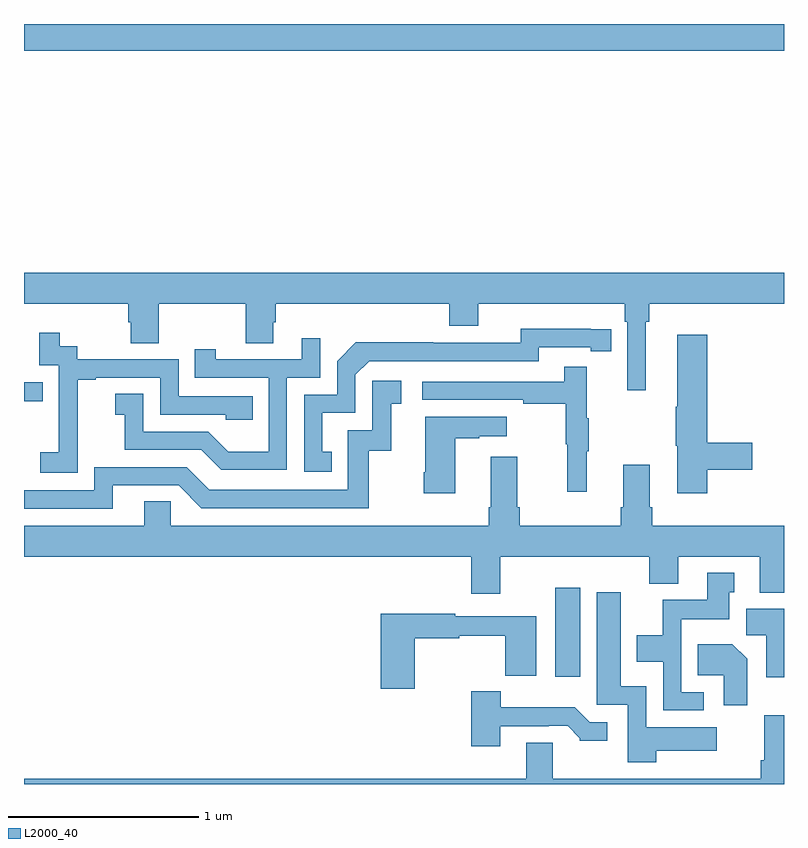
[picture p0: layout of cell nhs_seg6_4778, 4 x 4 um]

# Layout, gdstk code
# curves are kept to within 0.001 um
import gdstk
lib = gdstk.Library(unit=1e-6, precision=1e-09)
def R(c, l, rs):  # rectangles x0, y0, x1, y1
    for r in rs: c.add(gdstk.rectangle(r[:2], r[2:], *l))
def P(c, l, *ps):  # polygons
    for p in ps: c.add(gdstk.Polygon(p, *l))
L2000_40 = (2000, 40)

nhs_seg6_4778 = lib.new_cell('nhs_seg6_4778')
R(nhs_seg6_4778, L2000_40, [(397.796,920.064,397.927,920.533), (395,921.514,395.099,921.615), (395,923.36,399,923.5)])
P(nhs_seg6_4778, L2000_40, [(398.272,921.932),(398.291,921.932),(398.291,922.028),(399,922.028),(399,922.192),(395,922.192),(395,922.028),(395.549,922.028),(395.549,921.93),(395.561,921.93),(395.561,921.82),(395.709,921.82),(395.709,922.028),(396.166,922.028),(396.166,921.82),(396.313,921.82),(396.313,921.93),(396.326,921.93),(396.326,922.028),(397.238,922.028),(397.238,921.911),(397.39,921.911),(397.39,922.028),(398.162,922.028),(398.162,921.932),(398.175,921.932),(398.175,921.573),(398.272,921.573)],
  [(396.62,921.249),(396.571,921.249),(396.571,921.453),(396.744,921.453),(396.744,921.654),(396.816,921.726),(397.71,921.726),(397.71,921.798),(397.982,921.798),(397.982,921.778),(398.09,921.778),(398.09,921.894),(397.614,921.895),(397.614,921.822),(397.154,921.822),(397.154,921.824),(396.746,921.824),(396.648,921.726),(396.648,921.549),(396.474,921.549),(396.474,921.144),(396.62,921.144)],
  [(395.283,921.343),(395.282,921.343),(395.282,921.627),(395.377,921.627),(395.377,921.639),(395.718,921.639),(395.718,921.444),(396.063,921.444),(396.063,921.417),(396.203,921.417),(396.203,921.54),(395.814,921.54),(395.814,921.735),(395.28,921.735),(395.28,921.804),(395.188,921.804),(395.188,921.874),(395.079,921.874),(395.079,921.705),(395.184,921.705),(395.184,921.476),(395.183,921.476),(395.183,921.247),(395.085,921.247),(395.085,921.137),(395.283,921.137)],
  [(398.597,921.154),(398.833,921.154),(398.833,921.296),(398.597,921.296),(398.597,921.865),(398.438,921.865),(398.438,921.485),(398.431,921.485),(398.431,921.279),(398.438,921.279),(398.438,921.03),(398.597,921.03)],
  [(396.384,921.639),(396.558,921.639),(396.558,921.847),(396.461,921.847),(396.461,921.735),(396.01,921.735),(396.01,921.787),(395.899,921.787),(395.899,921.639),(396.288,921.639),(396.288,921.25),(396.074,921.25),(395.97,921.354),(395.628,921.354),(395.628,921.553),(395.481,921.553),(395.481,921.443),(395.53,921.443),(395.53,921.258),(395.933,921.258),(396.038,921.153),(396.384,921.153)],
  [(397.961,921.251),(397.972,921.251),(397.972,921.425),(397.961,921.425),(397.961,921.697),(397.843,921.697),(397.843,921.618),(397.095,921.618),(397.095,921.522),(397.627,921.522),(397.627,921.502),(397.851,921.502),(397.851,921.288),(397.858,921.288),(397.858,921.039),(397.961,921.039)],
  [(395.467,921.072),(395.814,921.072),(395.934,920.952),(396.814,920.952),(396.814,921.255),(396.932,921.255),(396.932,921.501),(396.985,921.501),(396.985,921.622),(396.834,921.622),(396.834,921.363),(396.705,921.363),(396.705,921.048),(395.976,921.048),(395.856,921.168),(395.37,921.168),(395.37,921.045),(395,921.045),(395,920.949),(395.467,920.949)],
  [(397.27,921.319),(397.397,921.319),(397.397,921.329),(397.54,921.329),(397.54,921.433),(397.112,921.433),(397.112,921.142),(397.105,921.142),(397.105,921.03),(397.27,921.03)],
  [(397.507,920.696),(398.291,920.696),(398.291,920.555),(398.443,920.555),(398.443,920.696),(398.873,920.696),(398.873,920.507),(399,920.507),(399,920.86),(398.306,920.86),(398.306,920.956),(398.293,920.956),(398.293,921.181),(398.153,921.181),(398.153,920.956),(398.141,920.956),(398.141,920.86),(397.61,920.86),(397.61,920.956),(397.597,920.956),(397.597,921.223),(397.457,921.223),(397.457,920.956),(397.445,920.956),(397.445,920.86),(395.772,920.86),(395.772,920.987),(395.633,920.987),(395.633,920.86),(395,920.86),(395,920.696),(397.355,920.696),(397.355,920.502),(397.507,920.502)],
  [(398.578,919.983),(398.46,919.983),(398.46,920.366),(398.713,920.366),(398.713,920.508),(398.737,920.508),(398.737,920.611),(398.597,920.611),(398.597,920.47),(398.362,920.47),(398.362,920.284),(398.225,920.284),(398.225,920.144),(398.364,920.144),(398.364,919.887),(398.578,919.887)],
  [(398.327,919.676),(398.647,919.676),(398.647,919.798),(398.274,919.798),(398.274,920.014),(398.14,920.014),(398.14,920.509),(398.015,920.509),(398.015,919.917),(398.178,919.917),(398.178,919.614),(398.327,919.614)],
  [(399,920.422),(398.801,920.422),(398.801,920.284),(398.906,920.284),(398.906,920.063),(399,920.063)],
  [(397.056,920.266),(397.29,920.266),(397.29,920.281),(397.534,920.281),(397.534,920.069),(397.696,920.069),(397.696,920.382),(397.271,920.382),(397.271,920.395),(396.878,920.395),(396.878,920.001),(397.056,920.001)],
  [(398.806,920.158),(398.728,920.236),(398.545,920.236),(398.545,920.072),(398.684,920.072),(398.684,919.914),(398.806,919.914)],
  [(397.507,919.803),(397.763,919.803),(397.763,919.806),(397.862,919.806),(397.926,919.742),(397.926,919.727),(398.071,919.727),(398.071,919.824),(397.977,919.824),(397.899,919.903),(397.51,919.903),(397.51,919.987),(397.355,919.987),(397.355,919.698),(397.507,919.698)],
  [(399,919.861),(398.896,919.861),(398.896,919.624),(398.878,919.624),(398.878,919.528),(397.783,919.528),(397.783,919.718),(397.643,919.718),(397.643,919.528),(395,919.528),(395,919.5),(399,919.5)])

lib.write_gds('nhs_seg6_4778.gds')
